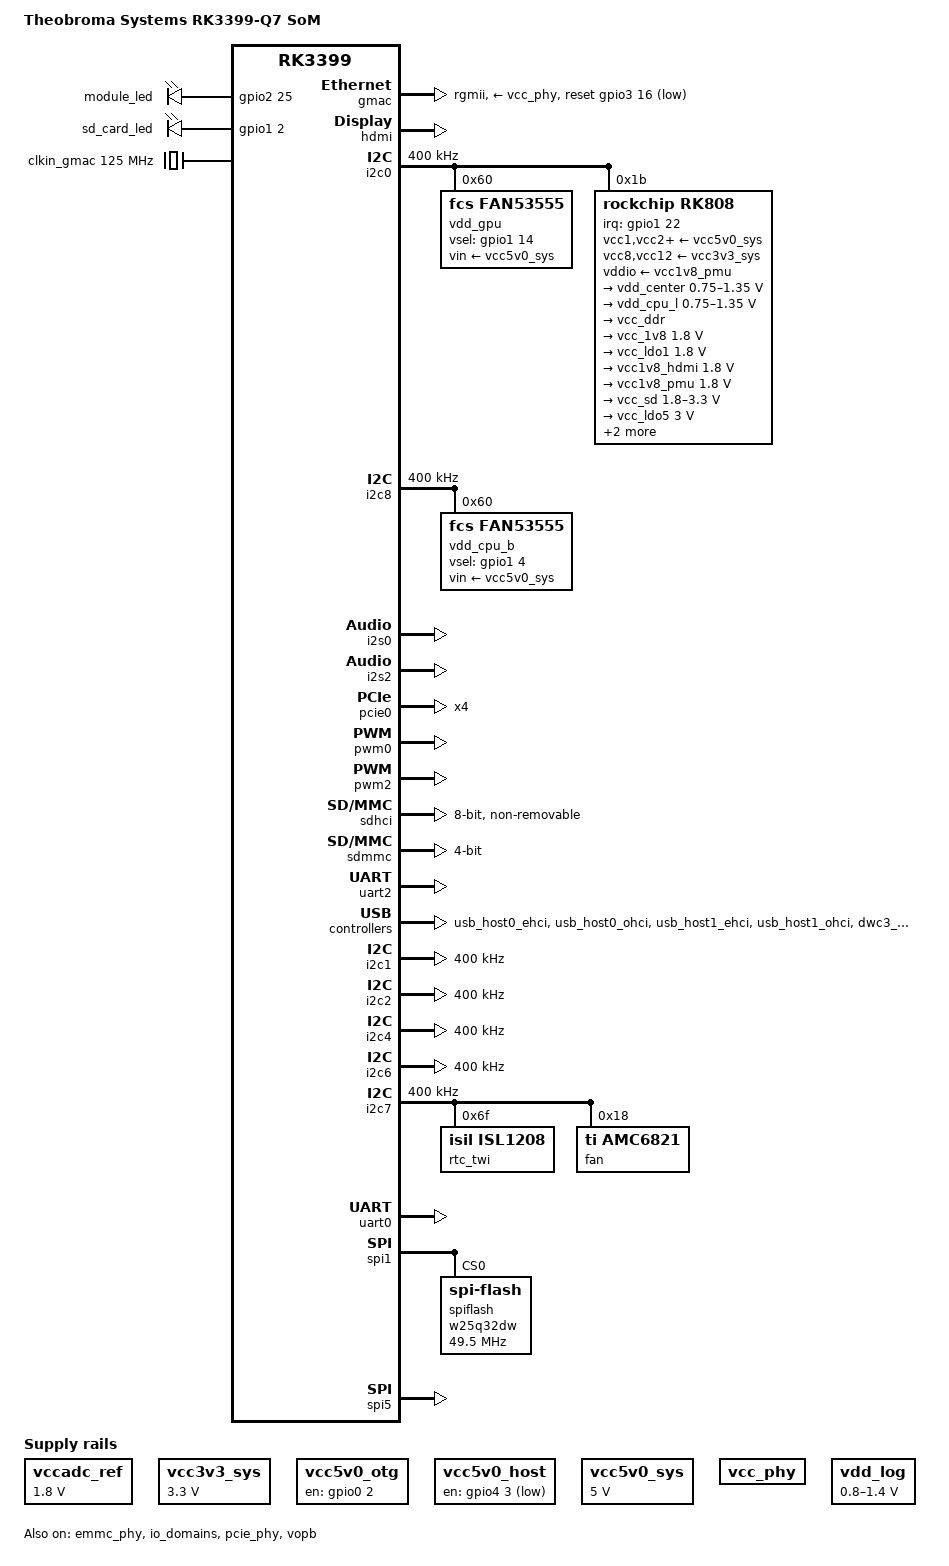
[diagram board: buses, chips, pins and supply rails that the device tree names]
/*
 * (C) Copyright 2017 Theobroma Systems Design und Consulting GmbH
 *
 * SPDX-License-Identifier:     GPL-2.0+	X11
 */

#include <dt-bindings/pwm/pwm.h>
#include "rk3399.dtsi"

/ {
	model = "Theobroma Systems RK3399-Q7 SoM";
	compatible = "tsd,rk3399-q7", "tsd,puma", "rockchip,rk3399";

	config {
		u-boot,spl-payload-offset = <0x40000>; /* 256kbyte */
		u-boot,boot-led = "module_led";
	};

	chosen {
		stdout-path = "serial0:115200n8";
		u-boot,spl-boot-order = &spiflash, &sdhci, &sdmmc;
	};

	aliases {
		spi0 = &spi1;
		spi1 = &spi5;
	};

	leds {
		compatible = "gpio-leds";
		pinctrl-names = "default";
		pinctrl-0 = <&leds_pins_puma>;

		module_led {
			label = "module_led";
			gpios = <&gpio2 25 GPIO_ACTIVE_HIGH>;
			linux,default-trigger = "heartbeat";
		};

		sd_card_led {
			label = "sd_card_led";
			gpios = <&gpio1 2 GPIO_ACTIVE_HIGH>;
			linux,default-trigger = "mmc0";
		};
	};

	clkin_gmac: external-gmac-clock {
		compatible = "fixed-clock";
		clock-frequency = <125000000>;
		clock-output-names = "clkin_gmac";
		#clock-cells = <0>;
	};

	dw_hdmi_audio: dw-hdmi-audio {
		status = "enabled";
		compatible = "rockchip,dw-hdmi-audio";
		#sound-dai-cells = <0>;
	};

	hdmi_codec: hdmi-codec {
		compatible = "simple-audio-card";
		simple-audio-card,format = "i2s";
		simple-audio-card,mclk-fs = <256>;
		simple-audio-card,name = "HDMI-CODEC";

		simple-audio-card,cpu {
			sound-dai = <&i2s2>;
		};

		simple-audio-card,codec {
			sound-dai = <&hdmi>;
		};
	};

	hdmi_sound: hdmi-sound {
		status = "disabled";
		compatible = "simple-audio-card";
		simple-audio-card,format = "i2s";
		simple-audio-card,mclk-fs = <256>;
		simple-audio-card,name = "rockchip,hdmi";

		simple-audio-card,cpu {
			sound-dai = <&i2s2>;
		};
		simple-audio-card,codec {
			sound-dai = <&hdmi>;
		};
	};

	vccadc_ref: vccadc-ref {
		compatible = "regulator-fixed";
		regulator-name = "vcc1v8_sys";
		regulator-always-on;
		regulator-boot-on;
		regulator-min-microvolt = <1800000>;
		regulator-max-microvolt = <1800000>;
	};

	vcc3v3_sys: vcc3v3-sys {
		compatible = "regulator-fixed";
		regulator-name = "vcc3v3_sys";
		regulator-always-on;
		regulator-boot-on;
		regulator-min-microvolt = <3300000>;
		regulator-max-microvolt = <3300000>;
	};

	vcc5v0_otg: vcc5v0-otg-regulator {
		compatible = "regulator-fixed";
		enable-active-high;
		gpio = <&gpio0 2 GPIO_ACTIVE_HIGH>;
		pinctrl-names = "default";
		pinctrl-0 = <&otg_vbus_drv>;
		regulator-name = "vcc5v0_otg";
		regulator-always-on;
	};

	vcc5v0_host: vcc5v0-host-regulator {
		compatible = "regulator-fixed";
		enable-active-low;
		gpio = <&gpio4 3 GPIO_ACTIVE_HIGH>;
		pinctrl-names = "default";
		pinctrl-0 = <&host_vbus_drv>;
		regulator-name = "vcc5v0_host";
		regulator-always-on;
	};

	vcc5v0_sys: vcc5v0-sys {
		compatible = "regulator-fixed";
		regulator-name = "vcc5v0_sys";
		regulator-always-on;
		regulator-boot-on;
		regulator-min-microvolt = <5000000>;
		regulator-max-microvolt = <5000000>;
	};

	vcc_phy: vcc-phy-regulator {
		compatible = "regulator-fixed";
		regulator-name = "vcc_phy";
		regulator-always-on;
		regulator-boot-on;
	};

	vdd_log: vdd-log {
		compatible = "pwm-regulator";
		pwms = <&pwm2 0 25000 1>;
		regulator-name = "vdd_log";
		regulator-min-microvolt = <800000>;
		regulator-max-microvolt = <1400000>;
		regulator-always-on;
		regulator-boot-on;

		/* for rockchip boot on */
		rockchip,pwm_id= <2>;
		rockchip,pwm_voltage = <1000000>;
	};
};

&emmc_phy {
	status = "okay";
};

&gmac {
	phy-supply = <&vcc_phy>;
	phy-mode = "rgmii";
	clock_in_out = "input";
	snps,reset-gpio = <&gpio3 16 GPIO_ACTIVE_LOW>;
	snps,reset-active-low;
	snps,reset-delays-us = <2 10000 50000>;
	assigned-clocks = <&cru SCLK_RMII_SRC>;
	assigned-clock-parents = <&clkin_gmac>;
	pinctrl-names = "default";
	pinctrl-0 = <&rgmii_pins>;
	tx_delay = <0x10>;
	rx_delay = <0x10>;
	status = "okay";
};

&hdmi {
	#address-cells = <1>;
	#size-cells = <0>;
	#sound-dai-cells = <0>;
	status = "okay";
};

&i2c0 {
	status = "okay";
	i2c-scl-rising-time-ns = <168>;
	i2c-scl-falling-time-ns = <4>;
	clock-frequency = <400000>;

	vdd_gpu: fan535555@60 {
		compatible = "fcs,fan53555";
		reg = <0x60>;
		vsel-gpios = <&gpio1 14 GPIO_ACTIVE_HIGH>;
		vin-supply = <&vcc5v0_sys>;
		regulator-compatible = "fan53555-reg";
		regulator-name = "vdd_gpu";
		regulator-min-microvolt = <600000>;
		regulator-max-microvolt = <1230000>;
		regulator-ramp-delay = <1000>;
		fcs,suspend-voltage-selector = <1>;
		regulator-always-on;
		regulator-boot-on;
		regulator-initial-state = <3>;
			regulator-state-mem {
			regulator-off-in-suspend;
		};
	};

	rk808: pmic@1b {
		compatible = "rockchip,rk808";
		reg = <0x1b>;
		interrupt-parent = <&gpio1>;
		interrupts = <22 IRQ_TYPE_LEVEL_LOW>;  // TODO check interrupt?
		pinctrl-names = "default";
		pinctrl-0 = <&pmic_int_l>;
		rockchip,system-power-controller;
		wakeup-source;
		#clock-cells = <1>;
		clock-output-names = "xin32k", "rk808-clkout2";

		vcc1-supply = <&vcc5v0_sys>;
		vcc2-supply = <&vcc5v0_sys>;
		vcc3-supply = <&vcc5v0_sys>;
		vcc4-supply = <&vcc5v0_sys>;
		vcc6-supply = <&vcc5v0_sys>;
		vcc7-supply = <&vcc5v0_sys>;
		vcc8-supply = <&vcc3v3_sys>;
		vcc9-supply = <&vcc5v0_sys>;
		vcc10-supply = <&vcc5v0_sys>;
		vcc11-supply = <&vcc5v0_sys>;
		vcc12-supply = <&vcc3v3_sys>;
		vddio-supply = <&vcc1v8_pmu>;

		regulators {
			vdd_center: DCDC_REG1 {
				regulator-always-on;
				regulator-boot-on;
				regulator-min-microvolt = <750000>;
				regulator-max-microvolt = <1350000>;
				regulator-ramp-delay = <6001>;
				regulator-name = "vdd_center";
				regulator-state-mem {
					regulator-off-in-suspend;
				};
			};

			vdd_cpu_l: DCDC_REG2 {
				regulator-always-on;
				regulator-boot-on;
				regulator-min-microvolt = <750000>;
				regulator-max-microvolt = <1350000>;
				regulator-ramp-delay = <6001>;
				regulator-name = "vdd_cpu_l";
				regulator-state-mem {
					regulator-off-in-suspend;
				};
			};

			vcc_ddr: DCDC_REG3 {
				regulator-always-on;
				regulator-boot-on;
				regulator-name = "vcc_ddr";
				regulator-state-mem {
					regulator-on-in-suspend;
				};
			};

			vcc_1v8: DCDC_REG4 {
				regulator-always-on;
				regulator-boot-on;
				regulator-min-microvolt = <1800000>;
				regulator-max-microvolt = <1800000>;
				regulator-name = "vcc_1v8";
				regulator-state-mem {
					regulator-on-in-suspend;
					regulator-suspend-microvolt = <1800000>;
				};
			};

			vcc_ldo1: LDO_REG1 {
				regulator-boot-on;
				regulator-min-microvolt = <1800000>;
				regulator-max-microvolt = <1800000>;
				regulator-name = "vcc_ldo1";
				regulator-state-mem {
					regulator-off-in-suspend;
				};
			};

			vcc1v8_hdmi: LDO_REG2 {
				regulator-always-on;
				regulator-boot-on;
				regulator-min-microvolt = <1800000>;
				regulator-max-microvolt = <1800000>;
				regulator-name = "vcc1v8_hdmi";
				regulator-state-mem {
					regulator-off-in-suspend;
				};
			};

			vcc1v8_pmu: LDO_REG3 {
				regulator-always-on;
				regulator-boot-on;
				regulator-min-microvolt = <1800000>;
				regulator-max-microvolt = <1800000>;
				regulator-name = "vcc1v8_pmu";
				regulator-state-mem {
					regulator-on-in-suspend;
					regulator-suspend-microvolt = <1800000>;
				};
			};

			vcc_sd: LDO_REG4 {
				regulator-always-on;
				regulator-boot-on;
				regulator-min-microvolt = <1800000>;
				regulator-max-microvolt = <3300000>;
				regulator-name = "vcc_sd";
				regulator-state-mem {
					regulator-on-in-suspend;
					regulator-suspend-microvolt = <3300000>;
				};
			};

			vcc_ldo5: LDO_REG5 {
				regulator-boot-on;
				regulator-min-microvolt = <3000000>;
				regulator-max-microvolt = <3000000>;
				regulator-name = "vcc_ldo5";
				regulator-state-mem {
					regulator-off-in-suspend;
				};
			};

			vcc_ldo6: LDO_REG6 {
				regulator-boot-on;
				regulator-min-microvolt = <1500000>;
				regulator-max-microvolt = <1500000>;
				regulator-name = "vcc_ldo6";
				regulator-state-mem {
					regulator-off-in-suspend;
				};
			};

			vcc0v9_hdmi: LDO_REG7 {
				regulator-always-on;
				regulator-boot-on;
				regulator-min-microvolt = <900000>;
				regulator-max-microvolt = <900000>;
				regulator-name = "vcc0v9_hdmi";
				regulator-state-mem {
					regulator-off-in-suspend;
				};
			};

			vcc_efuse: LDO_REG8 {
				regulator-always-on;
				regulator-boot-on;
				regulator-min-microvolt = <1800000>;
				regulator-max-microvolt = <1800000>;
				regulator-name = "vcc_efuse";
				regulator-state-mem {
					regulator-off-in-suspend;
				};
			};

			vcc3v3_s3: SWITCH_REG1 {
				regulator-always-on;
				regulator-boot-on;
				regulator-name = "vcc3v3_s3";
				regulator-state-mem {
					regulator-off-in-suspend;
				};
			};

			vcc3v3_s0: SWITCH_REG2 {
				regulator-always-on;
				regulator-boot-on;
				regulator-name = "vcc3v3_s0";
				regulator-state-mem {
					regulator-off-in-suspend;
				};
			};
		};
	};
};

&i2c8 {
	status = "okay";
	clock-frequency = <400000>;

	vdd_cpu_b: fan53555@60 {
		compatible = "fcs,fan53555";
		reg = <0x60>;
		vsel-gpios = <&gpio1 4 GPIO_ACTIVE_HIGH>;
		vin-supply = <&vcc5v0_sys>;
		regulator-compatible = "fan53555-reg";
		regulator-name = "vdd_cpu_b";
		regulator-min-microvolt = <600000>;
		regulator-max-microvolt = <1230000>;
		regulator-ramp-delay = <1000>;
		fcs,suspend-voltage-selector = <1>;
		regulator-always-on;
		regulator-boot-on;
		regulator-initial-state = <3>;
			regulator-state-mem {
			regulator-off-in-suspend;
		};
	};
};

&i2s0 {
	status = "okay";
	rockchip,i2s-broken-burst-len;
	rockchip,playback-channels = <8>;
	rockchip,capture-channels = <8>;
	#sound-dai-cells = <0>;
};

&i2s2 {
	#sound-dai-cells = <0>;
	status = "okay";
};

&io_domains {
	status = "okay";

	bt656-supply = <&vcc_1v8>;	/* bt656_gpio2ab_ms */
	audio-supply = <&vcc_1v8>;	/* audio_gpio3d4a_ms */
	sdmmc-supply = <&vcc_sd>;	/* sdmmc_gpio4b_ms */
	gpio1830-supply = <&vcc_1v8>;	/* gpio1833_gpio4cd_ms */
};

&pcie0 {
	assigned-clocks = <&cru SCLK_PCIEPHY_REF>;
	assigned-clock-parents = <&cru SCLK_PCIEPHY_REF100M>;
	assigned-clock-rates = <100000000>;
	ep-gpios = <&gpio4 22 GPIO_ACTIVE_HIGH>;
	num-lanes = <4>;
	pinctrl-names = "default";
	pinctrl-0 = <&pcie_clkreqn>;
	status = "okay";
};

&pcie_phy {
	        status = "okay";
};

&pmu_io_domains {
	status = "okay";
	pmu1830-supply = <&vcc_1v8>;
};

&pwm0 {
	status = "okay";
};

&pwm2 {
	status = "okay";
};

&sdhci {
	bus-width = <8>;
	mmc-hs400-1_8v;
	supports-emmc;
	non-removable;
	keep-power-in-suspend;
	mmc-hs400-enhanced-strobe;
	status = "okay";
};

&sdmmc {
        u-boot,dm-pre-reloc;
	clock-frequency = <150000000>;
	clock-freq-min-max = <100000 150000000>;
	supports-sd;
	bus-width = <4>;
	cap-mmc-highspeed;
	cap-sd-highspeed;
	disable-wp;
	num-slots = <1>;
	vqmmc-supply = <&vcc_sd>;
	pinctrl-names = "default";
	pinctrl-0 = <&sdmmc_clk &sdmmc_cmd &sdmmc_cd &sdmmc_bus4>;
	status = "okay";
};

&uart2 {
	status = "okay";
};

&usb_host0_ehci {
	status = "okay";
};

&usb_host0_ohci {
	status = "okay";
};

&dwc3_typec0 {
	status = "disabled";
};

&usb_host1_ehci {
	status = "okay";
};

&usb_host1_ohci {
	status = "okay";
};

&dwc3_typec1 {
	rockchip,vbus-gpio = <&gpio4 3 GPIO_ACTIVE_LOW>;
	status = "okay";
};

&vopb {
	status = "okay";
};

&pinctrl {
	/* Pins that are not explicitely used by any devices */
	pinctrl-names = "default";
	pinctrl-0 = <&puma_pin_hog>;
	hog {
		puma_pin_hog: puma_pin_hog {
			rockchip,pins =
				/* We need pull-ups on Q7 buttons */
				<0  4 RK_FUNC_GPIO &pcfg_pull_up>, /* LID_BTN# */
				<0 10 RK_FUNC_GPIO &pcfg_pull_up>, /* BATLOW# */
				<0 11 RK_FUNC_GPIO &pcfg_pull_up>, /* SLP_BTN# */
				<0  9 RK_FUNC_GPIO &pcfg_pull_up>; /* BIOS_DISABLE# */
		};
	};

	pmic {
		pmic_int_l: pmic-int-l {
			rockchip,pins =
				<1 22 RK_FUNC_GPIO &pcfg_pull_up>;
		};
	};

	leds_pins_puma: led_pins@0 {
			rockchip,pins =
				<2 25 RK_FUNC_GPIO &pcfg_pull_none>,
				<1 2 RK_FUNC_GPIO &pcfg_pull_none>;
	};

	usb2 {
		otg_vbus_drv: otg-vbus-drv {
			rockchip,pins =
				<0 2 RK_FUNC_GPIO &pcfg_pull_none>;
		};

		host_vbus_drv: host-vbus-drv {
			rockchip,pins =
				<0 2 RK_FUNC_GPIO &pcfg_pull_none>;
		};
	};

	i2c8 {
		i2c8_xfer_a: i2c8-xfer {
			rockchip,pins = <1 21 RK_FUNC_1 &pcfg_pull_up>,
			                <1 20 RK_FUNC_1 &pcfg_pull_up>;
		};
	};
};

&i2c1 {
	status = "okay";
	clock-frequency = <400000>;
};
&i2c2 {
	status = "okay";
	clock-frequency = <400000>;
};
&i2c4 {
	status = "okay";
	clock-frequency = <400000>;
};
&i2c6 {
	status = "okay";
	clock-frequency = <400000>;
};

&i2c6_xfer {
	/* Enable pull-ups, the pins would float otherwise. */
	rockchip,pins =
		<2 10 RK_FUNC_2 &pcfg_pull_up>,
		<2 9 RK_FUNC_2 &pcfg_pull_up>;
};

&i2c7 {
	status = "okay";
	clock-frequency = <400000>;

	rtc_twi: rtc@6f {
		compatible = "isil,isl1208";
		reg = <0x6f>;
	};
	fan: fan@18 {
		compatible = "ti,amc6821";
		reg = <0x18>;
		cooling-min-state = <0>;
		cooling-max-state = <9>;
		#cooling-cells = <2>;
	};
};

&uart0 {
	u-boot,dm-pre-reloc;
	pinctrl-names = "default";
	pinctrl-0 = <&uart0_xfer &uart0_cts>;
	status = "okay";
};


&spi1 {
	u-boot,dm-pre-reloc;

	status = "okay";

	#address-cells = <1>;
	#size-cells = <0>;

	spiflash: w25q32dw@0 {
		u-boot,dm-pre-reloc;

		compatible = "spi-flash";
		reg = <0>;
		spi-max-frequency = <49500000>;
		spi-cpol;
		spi-cpha;
	};
};

&spi5 {
	status = "okay";
};

